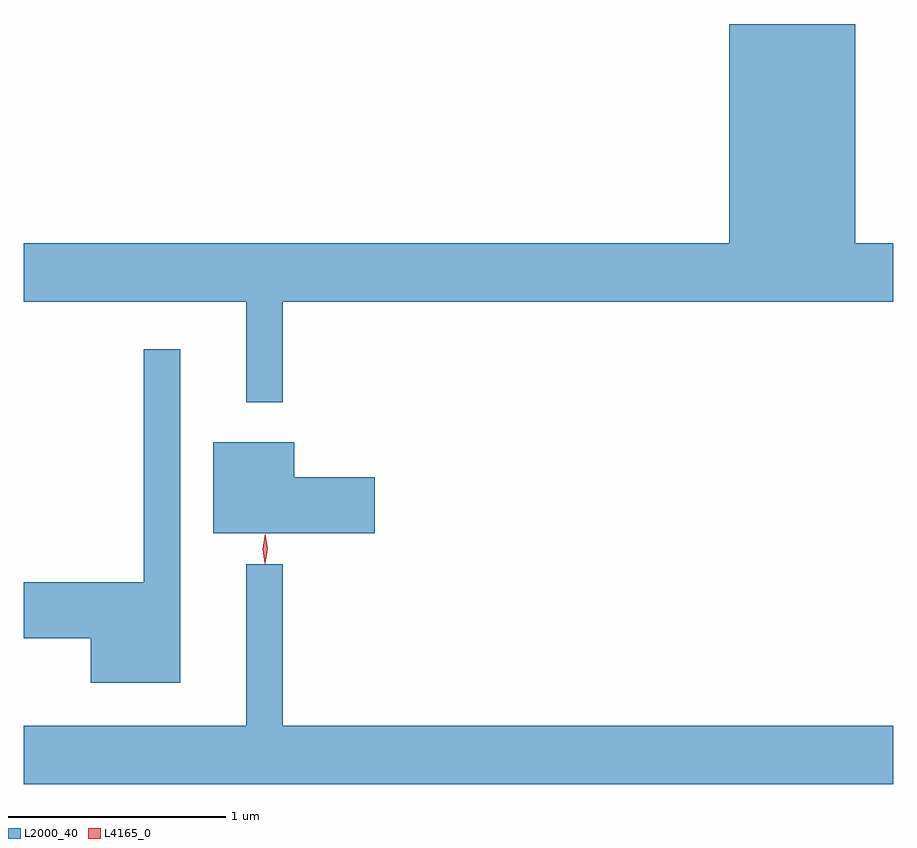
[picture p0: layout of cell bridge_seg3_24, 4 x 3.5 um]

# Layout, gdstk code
import gdstk
lib = gdstk.Library(unit=1e-6, precision=1e-09)
def P(c, l, *ps):  # polygons
    for p in ps: c.add(gdstk.Polygon(p, *l))
L2000_40 = (2000, 40)
L4165_0 = (4165, 0)

bridge_seg3_24 = lib.new_cell('bridge_seg3_24')
P(bridge_seg3_24, L2000_40, [(1330.249,1179.296),(1333.059,1179.296),(1333.059,1179.564),(1332.884,1179.564),(1332.884,1180.574),(1332.306,1180.574),(1332.306,1179.564),(1329.059,1179.564),(1329.059,1179.296),(1330.081,1179.296),(1330.081,1178.833),(1330.249,1178.833)],
  [(1329.779,1179.078),(1329.611,1179.078),(1329.611,1178.004),(1329.059,1178.004),(1329.059,1177.746),(1329.366,1177.746),(1329.366,1177.541),(1329.779,1177.541)],
  [(1330.674,1178.489),(1330.304,1178.489),(1330.304,1178.649),(1329.931,1178.649),(1329.931,1178.231),(1330.674,1178.231)],
  [(1333.059,1177.344),(1330.249,1177.344),(1330.249,1178.088),(1330.081,1178.088),(1330.081,1177.344),(1329.059,1177.344),(1329.059,1177.076),(1333.059,1177.076)])
P(bridge_seg3_24, L4165_0, [(1330.169,1178.09),(1330.16,1178.158),(1330.169,1178.225),(1330.17,1178.226),(1330.17,1178.225),(1330.18,1178.158),(1330.17,1178.09),(1330.17,1178.09)],
  [(1330.167,1178.093),(1330.167,1178.093),(1330.157,1178.156),(1330.167,1178.219),(1330.167,1178.22),(1330.168,1178.219),(1330.177,1178.156),(1330.168,1178.093)])

lib.write_gds('bridge_seg3_24.gds')
